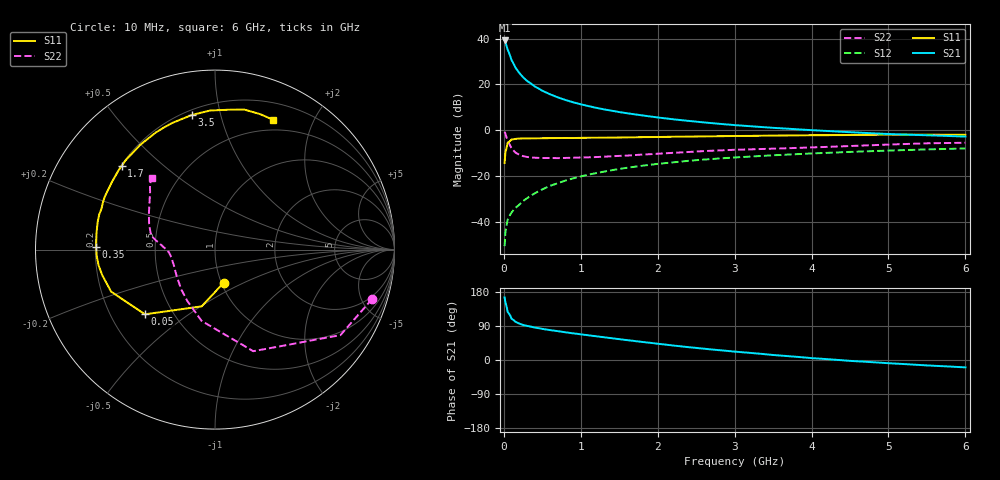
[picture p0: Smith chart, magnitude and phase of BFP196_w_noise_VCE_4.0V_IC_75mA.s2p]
! Infineon Technologies  Discrete & RF Semiconductors
! BFP196
! VCE =  4.0 V,  IC =  75 mA
! Common Emitter S-Parameters:  Jan 2017
# GHz  S  MA  R  50
!  f  S11  S21  S12  S22
! GHz  MAG  ANG  MAG  ANG  MAG  ANG  MAG  ANG
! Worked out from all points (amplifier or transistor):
!   77 points, 10 MHz to 6 GHz, reference 50 ohm
!   highest |S21| = 39.2 dB at 10 MHz (marker M1)
!   |S21| within 3 dB of that: start of sweep to 40.56 MHz
!   unconditionally stable (mu >= 1): 416.9 MHz to 2.449 GHz
!   at 130 MHz: K = 0.72, MSG = 31.8 dB, |S12| = -34.8 dB
!   at 2.2 GHz: K = 1.01, MAG = 8.8 dB, |S12| = -14.1 dB
!   at 6 GHz: K = 0.96, MSG = 2.6 dB, |S12| = -8.0 dB
!   lowest NFmin = 1.73 dB at 450 MHz
!   S11 on the Smith chart (normalised r, x): 10 MHz: 1.02, -0.39; 50 MHz: 0.35, -0.35; 350 MHz: 0.20, +0.01; 1.7 GHz: 0.20, +0.37; 3.5 GHz: 0.23, +0.82; 6 GHz: 0.38, +1.48
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0.01  0.1915 -75.6  91.51 165.1  0.0029 80.5  0.9176 -17.5
0.02  0.3248 -103.2  85.22 152.2  0.0057 69.8  0.8458 -34.3
0.05  0.5316 -137.3  57.69 126.5  0.011 55.2  0.6047 -69.4
0.1  0.6245 -158.0  34.02 108.8  0.0158 57.8  0.4039 -100.7
0.15  0.644 -167.2  23.49 101.0  0.0198 59.2  0.3246 -118.5
0.2  0.6544 -172.2  17.86 96.1  0.0234 63.5  0.29 -130.6
0.25  0.6592 -176.3  14.36 92.5  0.0281 65.2  0.2702 -138.6
0.3  0.6609 -179.0  12 90.0  0.0323 67.3  0.2594 -145.3
0.35  0.6616 178.7  10.53 88.1  0.0368 68.4  0.2538 -149.4
0.4  0.6633 176.4  9.079 85.6  0.0413 69.2  0.2495 -153.6
0.5  0.6662 172.4  7.273 82.1  0.0507 69.6  0.2453 -159.5
0.6  0.6689 169.1  6.09 78.9  0.0605 68.9  0.2455 -163.9
0.8  0.6742 163.1  4.577 73.1  0.0788 68.6  0.2467 -169.6
1.1  0.6811 154.5  3.355 65.2  0.1063 65.4  0.2547 -175.2
1.4  0.6872 146.3  2.663 57.5  0.1325 61.6  0.2682 -179.4
1.7  0.6984 138.2  2.215 50.1  0.1582 57.6  0.2849 177.6
2.1  0.7116 128.0  1.81 40.7  0.1901 51.6  0.3119 173.6
3.1  0.7463 107.0  1.254 20.5  0.2581 37.5  0.3759 163.8
3.5  0.7609 99.8  1.124 13.2  0.2817 32.6  0.3936 158.8
4.1  0.7759 90.5  0.979 3.7  0.3138 25.1  0.4245 150.0
5.1  0.796 76.9  0.812 -9.6  0.3615 13.3  0.4898 137.6
6  0.7928 65.9  0.724 -19.5  0.3979 3.3  0.5297 131.2
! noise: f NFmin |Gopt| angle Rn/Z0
0.45  1.73  0.48  -171  0.06
0.9  1.89  0.51  -158  0.09
1.9  2.72  0.7  -130  0.38
2.4  3.12  0.7  -117  0.83
